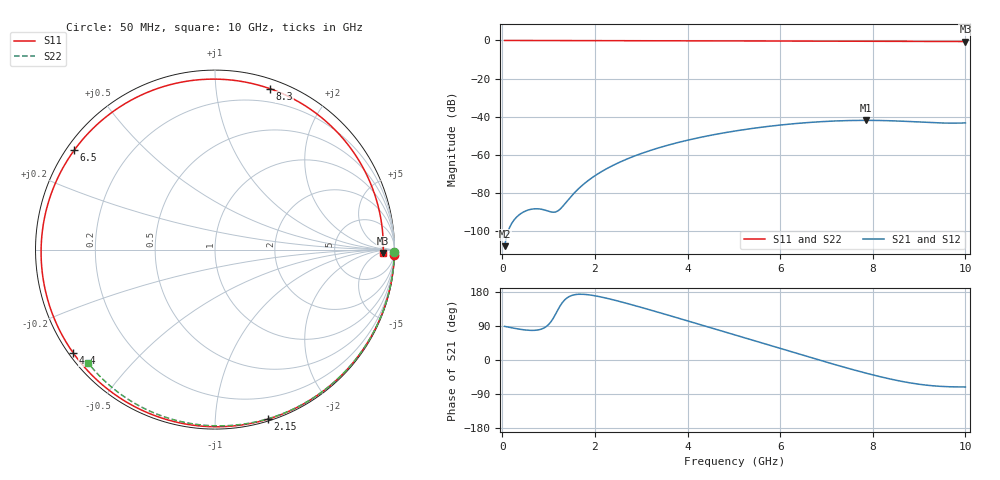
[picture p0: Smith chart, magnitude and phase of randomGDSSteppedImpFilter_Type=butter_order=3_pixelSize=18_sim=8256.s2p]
! freq	dB(S11)	phase(S11)	dB(S12)	phase(S12)
!  dB(S21)	phase(S21)	dB(S22)	phase(S22)
!S-par simulation data
#  GHz  S  DB  R 50
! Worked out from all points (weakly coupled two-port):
!   200 points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, 50 MHz to 10 GHz, reference 50 ohm
!   highest |S21| = -41.92 dB at 7.85 GHz (marker M1); lowest = -107.9 dB at 50 MHz (marker M2)
!   lowest |S11| = -0.6 dB at 10 GHz (marker M3), VSWR 30.95, Z = 1.41e+03 - j438 ohm
!   |S11| at or under -10 dB: nowhere
!   |S22| runs from -0.5 to 0.0 dB; largest |S21 - S12| = 0
!   S11 on the Smith chart (normalised r, x): 50 MHz: 0, -65; 2.15 GHz: 0.02, -1.36; 4.4 GHz: 0.01, -0.33; 6.5 GHz: 0.02, +0.32; 8.3 GHz: 0.08, +1.40; 10 GHz: 28, -9
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0.05  -0.00 -1.8  -107.92 88.7  -107.92 88.7  -0.00 -0.8
0.75  -0.03 -25.9  -88.31 78.9  -88.31 78.9  -0.01 -11.9
1.55  -0.07 -53.0  -80.11 172.0  -80.11 172.0  -0.03 -24.5
1.75  -0.08 -59.6  -75.52 173.4  -75.52 173.4  -0.04 -27.6
2.15  -0.09 -72.8  -68.70 165.8  -68.70 165.8  -0.04 -33.8
2.75  -0.12 -92.0  -61.63 147.4  -61.63 147.4  -0.06 -42.9
3.4  -0.14 -112.5  -56.17 124.8  -56.17 124.8  -0.07 -52.5
3.9  -0.17 -128.2  -52.91 106.9  -52.91 106.9  -0.08 -59.8
4.4  -0.20 -143.9  -50.23 88.8  -50.23 88.8  -0.10 -66.9
5.05  -0.24 -164.7  -47.41 65.1  -47.41 65.1  -0.12 -75.9
5.45  -0.27 -178.0  -45.99 50.5  -45.99 50.5  -0.13 -81.4
5.8  -0.30 170.1  -44.92 37.7  -44.92 37.7  -0.15 -86.0
6.5  -0.35 144.8  -43.26 12.3  -43.26 12.3  -0.18 -95.2
6.7  -0.37 137.3  -42.90 5.0  -42.90 5.0  -0.19 -97.8
7.3  -0.41 113.5  -42.15 -16.2  -42.15 -16.2  -0.23 -105.4
7.85  -0.45 90.5  -41.92 -34.6  -41.92 -34.6  -0.26 -112.3
8.3  -0.47 71.0  -42.07 -48.1  -42.07 -48.1  -0.30 -117.8
8.35  -0.47 68.9  -42.10 -49.4  -42.10 -49.4  -0.30 -118.4
8.75  -0.49 51.3  -42.48 -59.2  -42.48 -59.2  -0.34 -123.3
9.2  -0.51 31.8  -43.01 -66.9  -43.01 -66.9  -0.38 -128.7
9.6  -0.53 15.0  -43.35 -70.4  -43.35 -70.4  -0.42 -133.6
10  -0.56 -1.2  -43.25 -71.2  -43.25 -71.2  -0.47 -138.4
